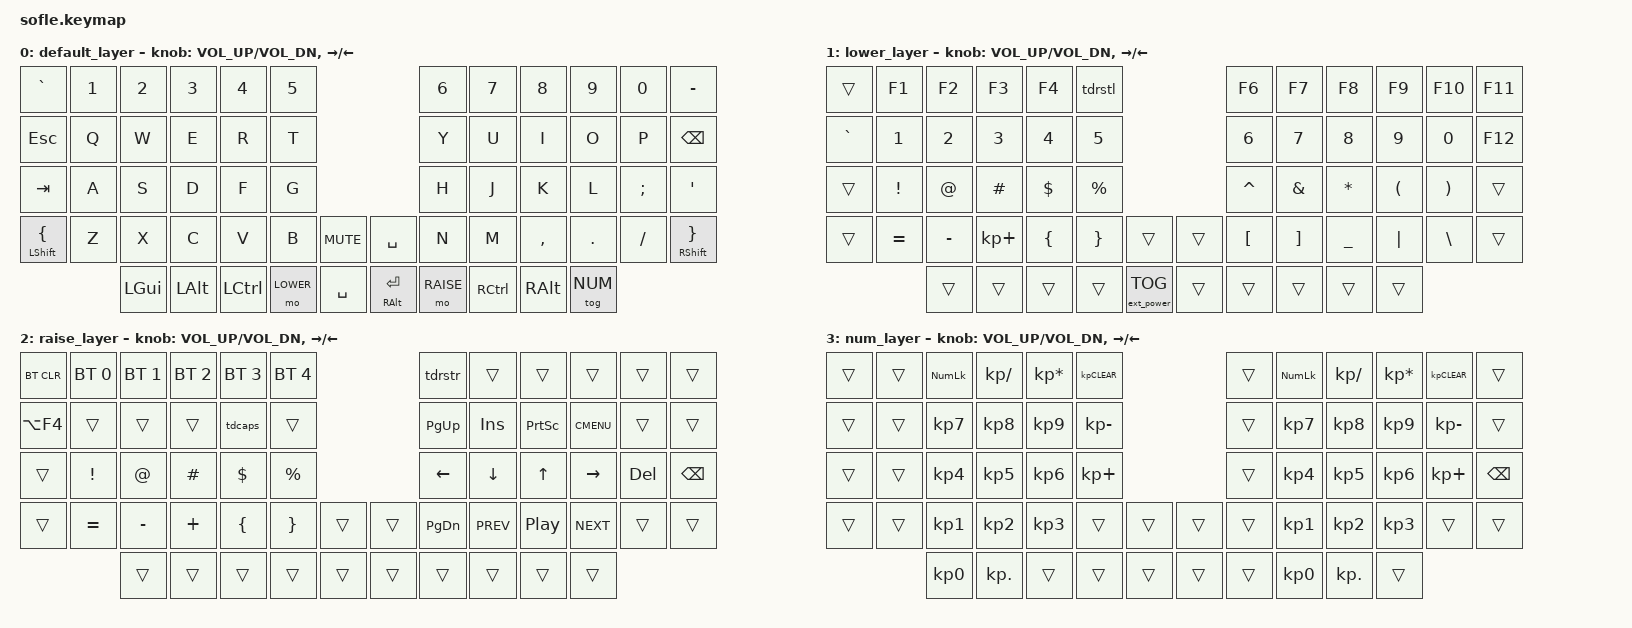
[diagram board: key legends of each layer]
/*
 * Copyright (c) 2020 The ZMK Contributors
 *
 * SPDX-License-Identifier: MIT
 */

#include <behaviors.dtsi>
#include <dt-bindings/zmk/keys.h>
#include <dt-bindings/zmk/bt.h>
#include <dt-bindings/zmk/ext_power.h>

#define DEFAULT 0
#define LOWER   1
#define RAISE   2
#define NUM     3

&caps_word {
    continue-list = <UNDERSCORE MINUS LS(MINUS) UP DOWN LEFT RIGHT BSPC DEL>;
};

/ {
    behaviors {
        tdrstl: tdrstl {
            compatible = "zmk,behavior-tap-dance";
            label = "tdrstl";
            #binding-cells = <0>;
            tapping-term-ms = <200>;
            bindings = <&kp F5>, <&reset>;
        };
        
        tdrstr: tdrstr {
            compatible = "zmk,behavior-tap-dance";
            label = "tdrstr";
            #binding-cells = <0>;
            tapping-term-ms = <200>;
            bindings = <&trans>, <&reset>;
        };
        
        tdcaps: tdcaps {
            compatible = "zmk,behavior-tap-dance";
            label = "tdcaps";
            #binding-cells = <0>;
            tapping-term-ms = <200>;
            bindings = <&caps_word>, <&kp CAPS>;
        };
    };

    keymap {
        compatible = "zmk,keymap";

        default_layer {
            // ------------------------------------------------------------------------------------------------------------
            // |  `    |  1  |  2  |  3   |  4   |  5   |                   |  6   |  7    |  8    |  9   |   0   |   -   |
            // |  ESC  |  Q  |  W  |  E   |  R   |  T   |                   |  Y   |  U    |  I    |  O   |   P   | BKSPC |
            // |  TAB  |  A  |  S  |  D   |  F   |  G   |                   |  H   |  J    |  K    |  L   |   ;   |   '   |
            // | SHIFT |  Z  |  X  |  C   |  V   |  B   |  MUTE  |  | SPACE |  N   |  M    |  ,    |  .   |   /   | SHIFT |
            //               | GUI | ALT  | CTRL | LOWER|  ENTER |  | SPACE | RAISE| CTRL  | ALT   | GUI  |

            bindings = <
            &kp GRAVE       &kp N1    &kp N2    &kp N3     &kp N4     &kp N5                                &kp N6      &kp N7      &kp N8      &kp N9      &kp N0      &kp MINUS
            &kp ESC         &kp Q     &kp W     &kp E      &kp R      &kp T                                 &kp Y       &kp U       &kp I       &kp O       &kp P       &kp BSPC
            &kp TAB         &kp A     &kp S     &kp D      &kp F      &kp G                                 &kp H       &kp J       &kp K       &kp L       &kp SEMI    &kp SQT
            &mt LSHFT LBRC  &kp Z     &kp X     &kp C      &kp V      &kp B     &kp C_MUTE  &kp SPACE       &kp N       &kp M       &kp COMMA   &kp DOT     &kp FSLH    &mt RSHFT RBRC
                                      &kp LGUI  &kp LALT   &kp LCTRL  &mo LOWER &kp SPACE   &mt RALT RET    &mo RAISE   &kp RCTRL   &kp RALT    &tog NUM
            >;

            sensor-bindings = <&inc_dec_kp C_VOL_UP C_VOL_DN &inc_dec_kp RIGHT LEFT>;
        };

        lower_layer {
            // ----------------------------------------------------------------------------------------------------------
            // |       |  F1 |  F2 |  F3  |  F4  |F5/rst|                 |  F6  |  F7   |  F8   |  F9  |  F10  |  F11  |
            // | `     |   1 |   2 |   3  |   4  |   5  |                 |   6  |   7   |   8   |   9  |    0  |  F12  |
            // |       |  !  |  @  |  #   |  $   |  %   |                 |  ^   |  &    |   *   |  (   |   )   |       |
            // |       |  =  |  -  |  +   |  {   |  }   |       |  |      |  [   |  ]    |   _   |  |   |   \   |       |
            //               |     |      |      |      |  VCC  |  |      |      |       |       |      |

            bindings = <
            &trans      &kp F1      &kp F2      &kp F3          &kp F4      &tdrstl                                 &kp F6     &kp F7    &kp F8     &kp F9    &kp F10   &kp F11
            &kp GRAVE   &kp N1      &kp N2      &kp N3          &kp N4      &kp N5                                  &kp N6     &kp N7    &kp N8     &kp N9    &kp N0    &kp F12
            &trans      &kp EXCL    &kp AT      &kp HASH        &kp DLLR    &kp PRCNT                               &kp CARET  &kp AMPS  &kp STAR   &kp LPAR  &kp RPAR  &trans
            &trans      &kp EQUAL   &kp MINUS   &kp KP_PLUS     &kp LBRC    &kp RBRC    &trans              &trans  &kp LBKT   &kp RBKT  &kp UNDER  &kp PIPE  &kp BSLH  &trans
                                    &trans      &trans          &trans      &trans      &ext_power EP_TOG   &trans  &trans     &trans    &trans     &trans
            >;

            sensor-bindings = <&inc_dec_kp C_VOL_UP C_VOL_DN &inc_dec_kp RIGHT LEFT>;
        };

        raise_layer {
            // ------------------------------------------------------------------------------------------------------------
            // |BTCLR| BT0  | BT1  |  BT2  |  BT3  |  BT4 |                | /RST |      |       |      |       |       |
            // |A+F4 |      |      |       | CAPSW |      |                |PG_UP |  INS | PSCR  |  GUI |       |       |
            // |     | !    | @    | #     | $     | %    |                |  <-  |   v  |   ^   |  ->  |  DEL  | BKSPC |
            // |     | =    | -    | +     | {     |  }   |      |  |      |PG_DN | prev | play  | next |       |       |
            //              |      |       |       |      |      |  |      |      |      |       |      |

            bindings = <
            &bt BT_CLR  &bt BT_SEL 0    &bt BT_SEL 1    &bt BT_SEL 2  &bt BT_SEL 3  &bt BT_SEL 4                &tdrstr     &trans      &trans      &trans      &trans  &trans
            &kp LA(F4)  &trans          &trans          &trans        &tdcaps       &trans                      &kp PG_UP   &kp INS     &kp PSCRN   &kp K_CMENU &trans  &trans
            &trans      &kp EXCL        &kp AT          &kp HASH      &kp DLLR      &kp PRCNT                   &kp LEFT    &kp DOWN    &kp UP      &kp RIGHT   &kp DEL &kp BSPC
            &trans      &kp EQUAL       &kp MINUS       &kp PLUS      &kp LBRC      &kp RBRC    &trans  &trans  &kp PG_DN   &kp C_PREV  &kp C_PP    &kp C_NEXT  &trans  &trans
                                        &trans          &trans        &trans        &trans      &trans  &trans  &trans      &trans      &trans      &trans
            >;

            sensor-bindings = <&inc_dec_kp C_VOL_UP C_VOL_DN &inc_dec_kp RIGHT LEFT>;
        };

        num_layer {
            // -----------------------------------------------------------------------------------------------------------
            // |     |      |  NUM  |   /  |   *   |  CLR |                |      | NUM   |   /  |   *   |  CLR  |       |
            // |     |      |   7   |   8  |   9   |   -  |                |      |   7   |   8  |   9   |   -   |       |
            // |     |      |   4   |   5  |   6   |   +  |                |      |   4   |   5  |   6   |   +   |       |
            // |     |      |   1   |   2  |   3   |      |      |  |      |      |   1   |   2  |   3   |       |       |
            //              |   0   |   .  |       |      |      |  |      |      |   0   |   .  |       |

            bindings = <
            &trans  &trans  &kp KP_NUMLOCK  &kp KP_DIVIDE   &kp KP_MULTIPLY &kp KP_CLEAR                    &trans  &kp KP_NUMLOCK  &kp KP_DIVIDE   &kp KP_MULTIPLY &kp KP_CLEAR    &trans
            &trans  &trans  &kp KP_N7       &kp KP_N8       &kp KP_N9       &kp KP_MINUS                    &trans  &kp KP_N7       &kp KP_N8       &kp KP_N9       &kp KP_MINUS    &trans
            &trans  &trans  &kp KP_N4       &kp KP_N5       &kp KP_N6       &kp KP_PLUS                     &trans  &kp KP_N4       &kp KP_N5       &kp KP_N6       &kp KP_PLUS  &kp BSPC
            &trans  &trans  &kp KP_N1       &kp KP_N2       &kp KP_N3       &trans          &trans  &trans  &trans  &kp KP_N1       &kp KP_N2       &kp KP_N3       &trans          &trans
                            &kp KP_N0       &kp KP_DOT      &trans          &trans          &trans  &trans  &trans  &kp KP_N0       &kp KP_DOT      &trans
            >;

            sensor-bindings = <&inc_dec_kp C_VOL_UP C_VOL_DN &inc_dec_kp RIGHT LEFT>;
        };

    };
};
